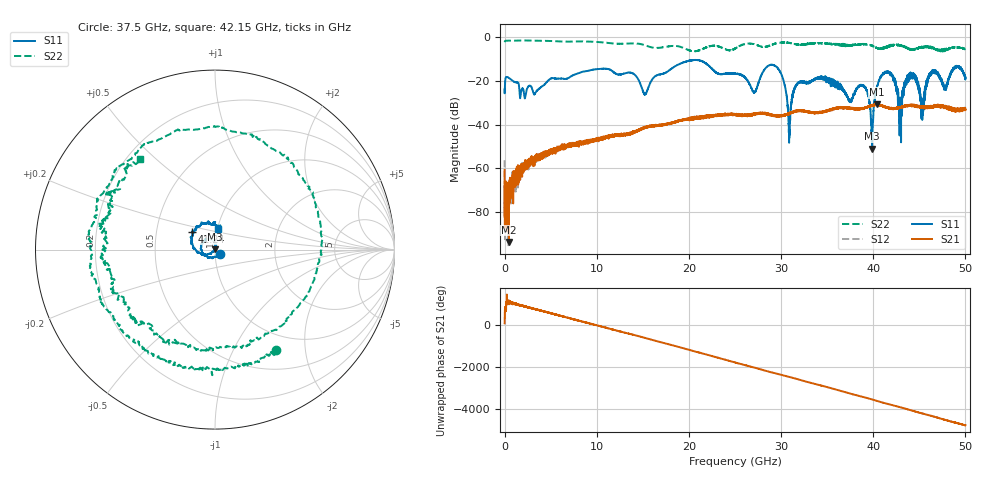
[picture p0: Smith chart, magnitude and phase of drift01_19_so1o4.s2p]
!Created with skrf (http://scikit-rf.org).
# Hz S RI R 50.0
!freq ReS11 ImS11 ReS21 ImS21 ReS12 ImS12 ReS22 ImS22
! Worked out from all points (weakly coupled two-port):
!   10001 points, 300 kHz to 50 GHz, reference 50 ohm
!   highest |S21| = -30.59 dB at 40.38 GHz (marker M1); lowest = -93.9 dB at 475.3 MHz (marker M2)
!   lowest |S11| = -51.0 dB at 39.87 GHz (marker M3), VSWR 1.01, Z = 49.7 + j0.0923 ohm
!   |S11| at or under -10 dB: start of sweep to end of sweep
!   |S22| runs from -6.4 to -1.4 dB; largest |S21 - S12| = 0.0035
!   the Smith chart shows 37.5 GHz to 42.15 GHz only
!   S11 on the Smith chart (normalised r, x): 37.5 GHz: 1.06, -0.05; 41.24 GHz: 0.76, +0.16; 42.15 GHz: 1.01, +0.24
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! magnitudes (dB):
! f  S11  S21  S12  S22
! 300 kHz  -23.8  -60.7  -56.3  -2.1
! 475.3 MHz  -18.6  -93.9  -72.8  -1.4
! 8.335 GHz  -15.9  -47.8  -48.6  -1.8
! 16.67 GHz  -17.1  -40.4  -40.3  -4.8
! 25 GHz  -16.6  -35.4  -35.5  -5.1
! 27.11 GHz  -25.2  -35.7  -35.2  -3.2
! 29.43 GHz  -13.2  -35.8  -35.9  -2.7
! 30.9 GHz  -44.5  -34.7  -34.8  -2.5
! 31.67 GHz  -21.6  -33.5  -33.6  -3.2
! 33.34 GHz  -19.8  -34.6  -34.4  -2.7
! 37.5 GHz  -28.9  -32.6  -32.4  -3.7
! 38.95 GHz  -22.2  -32.8  -32.5  -3.1
! 39.87 GHz  -51.0  -31.2  -31.1  -3.7
! 40.38 GHz  -23.0  -30.6  -30.8  -4.8
! 41.24 GHz  -15.9  -32.0  -31.8  -4.4
! 41.67 GHz  -16.1  -32.2  -32.6  -4.2
! 42.15 GHz  -18.6  -32.7  -32.6  -3.7
! 42.91 GHz  -30.6  -32.0  -32.1  -3.6
! 43.97 GHz  -17.1  -30.9  -31.1  -5.3
! 45.32 GHz  -37.8  -31.7  -31.8  -4.6
! 46.42 GHz  -15.4  -31.7  -31.9  -4.8
! 50 GHz  -18.3  -33.1  -33.3  -5.4
